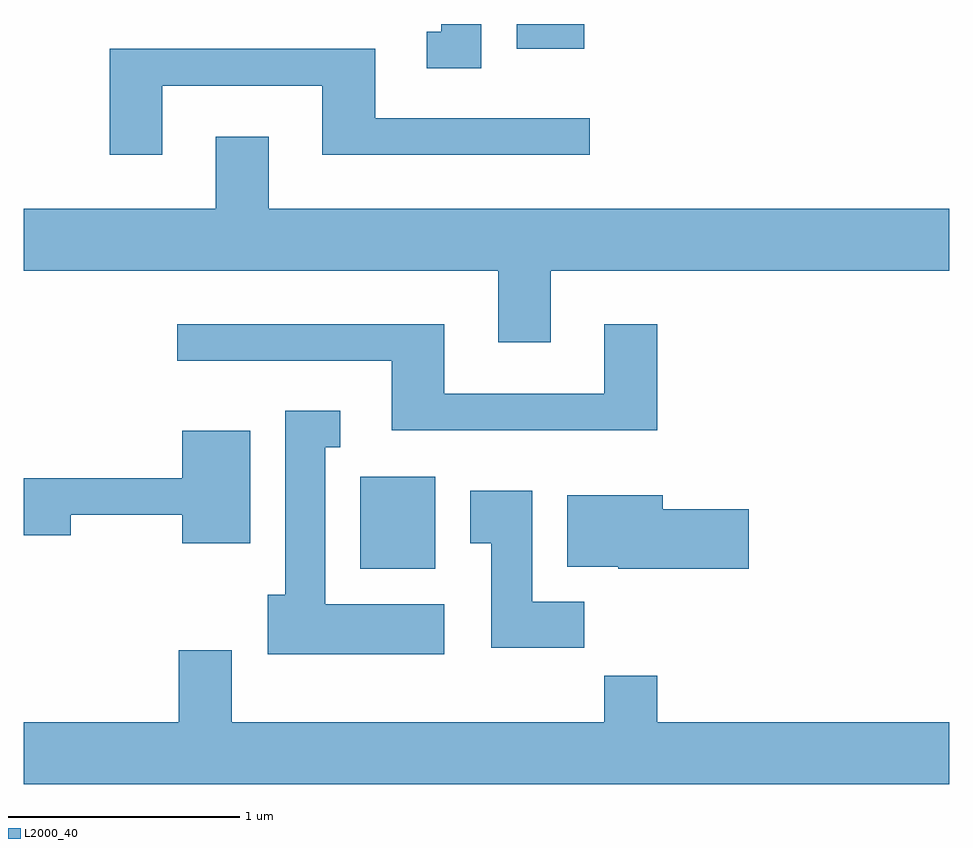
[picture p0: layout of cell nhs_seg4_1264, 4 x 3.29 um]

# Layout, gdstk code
import gdstk
lib = gdstk.Library(unit=1e-6, precision=1e-09)
def R(c, l, rs):  # rectangles x0, y0, x1, y1
    for r in rs: c.add(gdstk.rectangle(r[:2], r[2:], *l))
def P(c, l, *ps):  # polygons
    for p in ps: c.add(gdstk.Polygon(p, *l))
L2000_40 = (2000, 40)

nhs_seg4_1264 = lib.new_cell('nhs_seg4_1264')
R(nhs_seg4_1264, L2000_40, [(223.066,1335.626,223.389,1336.024), (223.741,1337.876,224.034,1337.982)])
P(nhs_seg4_1264, L2000_40, [(223.589,1337.982),(223.416,1337.982),(223.416,1337.949),(223.353,1337.949),(223.353,1337.791),(223.589,1337.791)],
  [(222.209,1337.716),(222.901,1337.716),(222.901,1337.416),(224.058,1337.416),(224.058,1337.574),(223.129,1337.574),(223.129,1337.874),(221.981,1337.874),(221.981,1337.416),(222.209,1337.416)],
  [(223.889,1336.916),(225.611,1336.916),(225.611,1337.184),(222.669,1337.184),(222.669,1337.494),(222.441,1337.494),(222.441,1337.184),(221.611,1337.184),(221.611,1336.916),(223.661,1336.916),(223.661,1336.606),(223.889,1336.606)],
  [(224.349,1336.684),(224.121,1336.684),(224.121,1336.384),(223.429,1336.384),(223.429,1336.684),(222.273,1336.684),(222.273,1336.526),(223.201,1336.526),(223.201,1336.226),(224.349,1336.226)],
  [(223.429,1335.474),(222.914,1335.474),(222.914,1336.151),(222.978,1336.151),(222.978,1336.309),(222.741,1336.309),(222.741,1335.514),(222.666,1335.514),(222.666,1335.256),(223.429,1335.256)],
  [(222.589,1336.224),(222.296,1336.224),(222.296,1336.019),(221.611,1336.019),(221.611,1335.771),(221.814,1335.771),(221.814,1335.861),(222.296,1335.861),(222.296,1335.736),(222.589,1335.736)],
  [(224.034,1335.484),(223.809,1335.484),(223.809,1335.964),(223.541,1335.964),(223.541,1335.736),(223.631,1335.736),(223.631,1335.286),(224.034,1335.286)],
  [(224.744,1335.884),(224.374,1335.884),(224.374,1335.944),(223.961,1335.944),(223.961,1335.636),(224.18,1335.636),(224.18,1335.626),(224.744,1335.626)],
  [(225.611,1334.964),(224.349,1334.964),(224.349,1335.164),(224.121,1335.164),(224.121,1334.964),(222.509,1334.964),(222.509,1335.274),(222.281,1335.274),(222.281,1334.964),(221.611,1334.964),(221.611,1334.696),(225.611,1334.696)])

lib.write_gds('nhs_seg4_1264.gds')
